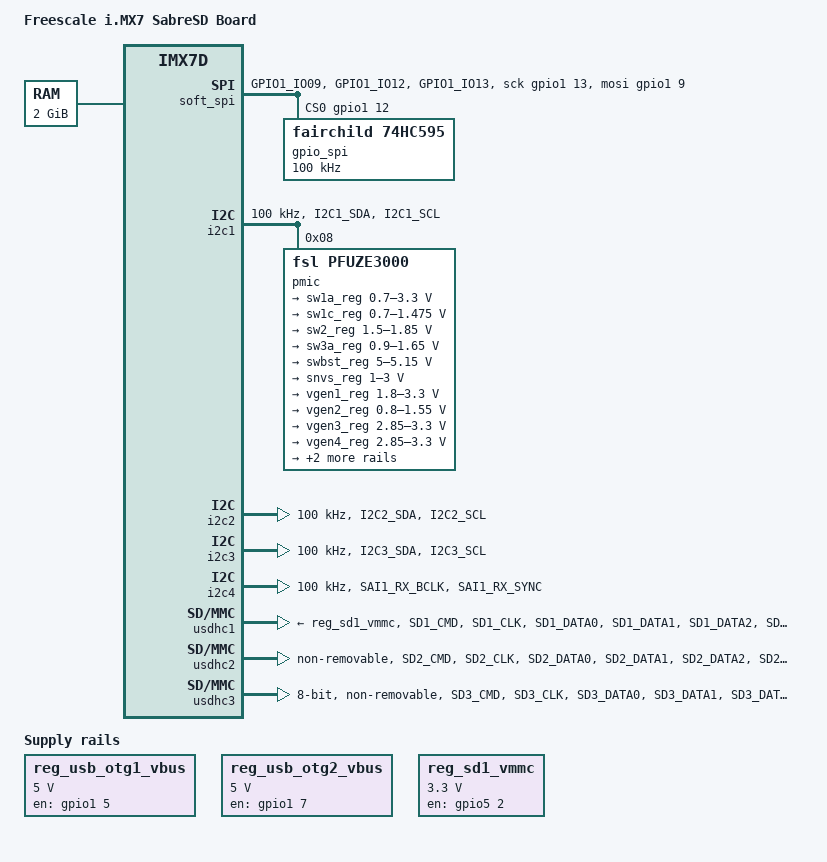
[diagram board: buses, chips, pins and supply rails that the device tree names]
// SPDX-License-Identifier: GPL-2.0+
/*
 * Copyright 2017 NXP
 */

/dts-v1/;

#include "imx7d.dtsi"

/ {
	model = "Freescale i.MX7 SabreSD Board";
	compatible = "fsl,imx7d-sdb", "fsl,imx7d";

	aliases {
		spi5 = &soft_spi;
	};

	memory {
		reg = <0x80000000 0x80000000>;
	};

	soft_spi: soft-spi {
		compatible = "spi-gpio";
		pinctrl-names = "default";
		pinctrl-0 = <&pinctrl_spi1>;
		status = "okay";
		gpio-sck = <&gpio1 13 0>;
		gpio-mosi = <&gpio1 9 0>;
		cs-gpios = <&gpio1 12 0>;
		num-chipselects = <1>;
		#address-cells = <1>;
		#size-cells = <0>;

		gpio_spi: gpio_spi@0 {
			compatible = "fairchild,74hc595";
			gpio-controller;
			#gpio-cells = <2>;
			reg = <0>;
			registers-number = <1>;
			registers-default = /bits/ 8 <0x74>; /* Enable PERI_3V3, SENSOR_RST_B and HDMI_RST*/
			spi-max-frequency = <100000>;
		};
	};

	regulators {
		compatible = "simple-bus";
		#address-cells = <1>;
		#size-cells = <0>;

		reg_usb_otg1_vbus: regulator@0 {
			compatible = "regulator-fixed";
			reg = <0>;
			regulator-name = "usb_otg1_vbus";
			regulator-min-microvolt = <5000000>;
			regulator-max-microvolt = <5000000>;
			gpio = <&gpio1 5 GPIO_ACTIVE_HIGH>;
			enable-active-high;
		};

		reg_usb_otg2_vbus: regulator@1 {
			compatible = "regulator-fixed";
			reg = <1>;
			regulator-name = "usb_otg2_vbus";
			regulator-min-microvolt = <5000000>;
			regulator-max-microvolt = <5000000>;
			gpio = <&gpio1 7 GPIO_ACTIVE_HIGH>;
			enable-active-high;
		};

		reg_sd1_vmmc: regulator@3 {
			compatible = "regulator-fixed";
			regulator-name = "VDD_SD1";
			regulator-min-microvolt = <3300000>;
			regulator-max-microvolt = <3300000>;
			gpio = <&gpio5 2 GPIO_ACTIVE_HIGH>;
			startup-delay-us = <200000>;
			enable-active-high;
		};
	};
};

&iomuxc {
	imx7d-sdb {
		pinctrl_spi1: spi1grp {
			fsl,pins = <
				MX7D_PAD_GPIO1_IO09__GPIO1_IO9	0x59
				MX7D_PAD_GPIO1_IO12__GPIO1_IO12	0x59
				MX7D_PAD_GPIO1_IO13__GPIO1_IO13	0x59
			>;
		};

		pinctrl_i2c1: i2c1grp {
			fsl,pins = <
				MX7D_PAD_I2C1_SDA__I2C1_SDA	0x4000007f
				MX7D_PAD_I2C1_SCL__I2C1_SCL	0x4000007f
			>;
		};

		pinctrl_i2c2: i2c2grp {
			fsl,pins = <
				MX7D_PAD_I2C2_SDA__I2C2_SDA	0x4000007f
				MX7D_PAD_I2C2_SCL__I2C2_SCL	0x4000007f
			>;
		};

		pinctrl_i2c3: i2c3grp {
			fsl,pins = <
				MX7D_PAD_I2C3_SDA__I2C3_SDA	0x4000007f
				MX7D_PAD_I2C3_SCL__I2C3_SCL	0x4000007f
			>;
		};

		pinctrl_i2c4: i2c4grp {
			fsl,pins = <
				MX7D_PAD_SAI1_RX_BCLK__I2C4_SDA	0x4000007f
				MX7D_PAD_SAI1_RX_SYNC__I2C4_SCL	0x4000007f
			>;
		};

		pinctrl_usdhc1_gpio: usdhc1_gpiogrp {
			fsl,pins = <
				MX7D_PAD_SD1_CD_B__GPIO5_IO0		0x59 /* CD */
				MX7D_PAD_SD1_WP__GPIO5_IO1		0x59 /* WP */
				MX7D_PAD_SD1_RESET_B__GPIO5_IO2		0x59 /* vmmc */
				MX7D_PAD_GPIO1_IO08__SD1_VSELECT	0x59 /* VSELECT */
			>;
		};

		pinctrl_usdhc1: usdhc1grp {
			fsl,pins = <
				MX7D_PAD_SD1_CMD__SD1_CMD		0x59
				MX7D_PAD_SD1_CLK__SD1_CLK		0x19
				MX7D_PAD_SD1_DATA0__SD1_DATA0		0x59
				MX7D_PAD_SD1_DATA1__SD1_DATA1		0x59
				MX7D_PAD_SD1_DATA2__SD1_DATA2		0x59
				MX7D_PAD_SD1_DATA3__SD1_DATA3		0x59
			>;
		};

		pinctrl_usdhc1_100mhz: usdhc1grp_100mhz {
			fsl,pins = <
				MX7D_PAD_SD1_CMD__SD1_CMD		0x5a
				MX7D_PAD_SD1_CLK__SD1_CLK		0x1a
				MX7D_PAD_SD1_DATA0__SD1_DATA0		0x5a
				MX7D_PAD_SD1_DATA1__SD1_DATA1		0x5a
				MX7D_PAD_SD1_DATA2__SD1_DATA2		0x5a
				MX7D_PAD_SD1_DATA3__SD1_DATA3		0x5a
			>;
		};

		pinctrl_usdhc1_200mhz: usdhc1grp_200mhz {
			fsl,pins = <
				MX7D_PAD_SD1_CMD__SD1_CMD		0x5b
				MX7D_PAD_SD1_CLK__SD1_CLK		0x1b
				MX7D_PAD_SD1_DATA0__SD1_DATA0		0x5b
				MX7D_PAD_SD1_DATA1__SD1_DATA1		0x5b
				MX7D_PAD_SD1_DATA2__SD1_DATA2		0x5b
				MX7D_PAD_SD1_DATA3__SD1_DATA3		0x5b
			>;
		};

		pinctrl_usdhc2: usdhc2grp {
			fsl,pins = <
				MX7D_PAD_SD2_CMD__SD2_CMD       0x59
				MX7D_PAD_SD2_CLK__SD2_CLK       0x19
				MX7D_PAD_SD2_DATA0__SD2_DATA0   0x59
				MX7D_PAD_SD2_DATA1__SD2_DATA1   0x59
				MX7D_PAD_SD2_DATA2__SD2_DATA2   0x59
				MX7D_PAD_SD2_DATA3__SD2_DATA3   0x59
				MX7D_PAD_ECSPI2_MOSI__GPIO4_IO21	0x19 /* WL_REG_ON */
				MX7D_PAD_ECSPI2_SCLK__GPIO4_IO20	0x19 /* WL_HOST_WAKE */
			>;
		};

		pinctrl_usdhc2_100mhz: usdhc2grp_100mhz {
			fsl,pins = <
				MX7D_PAD_SD2_CMD__SD2_CMD		0x5a
				MX7D_PAD_SD2_CLK__SD2_CLK		0x1a
				MX7D_PAD_SD2_DATA0__SD2_DATA0		0x5a
				MX7D_PAD_SD2_DATA1__SD2_DATA1		0x5a
				MX7D_PAD_SD2_DATA2__SD2_DATA2		0x5a
				MX7D_PAD_SD2_DATA3__SD2_DATA3		0x5a
			>;
		};

		pinctrl_usdhc2_200mhz: usdhc2grp_200mhz {
			fsl,pins = <
				MX7D_PAD_SD2_CMD__SD2_CMD		0x5b
				MX7D_PAD_SD2_CLK__SD2_CLK		0x1b
				MX7D_PAD_SD2_DATA0__SD2_DATA0		0x5b
				MX7D_PAD_SD2_DATA1__SD2_DATA1		0x5b
				MX7D_PAD_SD2_DATA2__SD2_DATA2		0x5b
				MX7D_PAD_SD2_DATA3__SD2_DATA3		0x5b
			>;
		};

		pinctrl_usdhc3: usdhc3grp {
			fsl,pins = <
				MX7D_PAD_SD3_CMD__SD3_CMD		0x59
				MX7D_PAD_SD3_CLK__SD3_CLK		0x19
				MX7D_PAD_SD3_DATA0__SD3_DATA0		0x59
				MX7D_PAD_SD3_DATA1__SD3_DATA1		0x59
				MX7D_PAD_SD3_DATA2__SD3_DATA2		0x59
				MX7D_PAD_SD3_DATA3__SD3_DATA3		0x59
				MX7D_PAD_SD3_DATA4__SD3_DATA4		0x59
				MX7D_PAD_SD3_DATA5__SD3_DATA5		0x59
				MX7D_PAD_SD3_DATA6__SD3_DATA6		0x59
				MX7D_PAD_SD3_DATA7__SD3_DATA7		0x59
				MX7D_PAD_SD3_STROBE__SD3_STROBE         0x19
			>;
		};

		pinctrl_usdhc3_100mhz: usdhc3grp_100mhz {
			fsl,pins = <
				MX7D_PAD_SD3_CMD__SD3_CMD		0x5a
				MX7D_PAD_SD3_CLK__SD3_CLK		0x1a
				MX7D_PAD_SD3_DATA0__SD3_DATA0		0x5a
				MX7D_PAD_SD3_DATA1__SD3_DATA1		0x5a
				MX7D_PAD_SD3_DATA2__SD3_DATA2		0x5a
				MX7D_PAD_SD3_DATA3__SD3_DATA3		0x5a
				MX7D_PAD_SD3_DATA4__SD3_DATA4		0x5a
				MX7D_PAD_SD3_DATA5__SD3_DATA5		0x5a
				MX7D_PAD_SD3_DATA6__SD3_DATA6		0x5a
				MX7D_PAD_SD3_DATA7__SD3_DATA7		0x5a
				MX7D_PAD_SD3_STROBE__SD3_STROBE		0x1a
			>;
		};

		pinctrl_usdhc3_200mhz: usdhc3grp_200mhz {
			fsl,pins = <
				MX7D_PAD_SD3_CMD__SD3_CMD		0x5b
				MX7D_PAD_SD3_CLK__SD3_CLK		0x1b
				MX7D_PAD_SD3_DATA0__SD3_DATA0		0x5b
				MX7D_PAD_SD3_DATA1__SD3_DATA1		0x5b
				MX7D_PAD_SD3_DATA2__SD3_DATA2		0x5b
				MX7D_PAD_SD3_DATA3__SD3_DATA3		0x5b
				MX7D_PAD_SD3_DATA4__SD3_DATA4		0x5b
				MX7D_PAD_SD3_DATA5__SD3_DATA5		0x5b
				MX7D_PAD_SD3_DATA6__SD3_DATA6		0x5b
				MX7D_PAD_SD3_DATA7__SD3_DATA7		0x5b
				MX7D_PAD_SD3_STROBE__SD3_STROBE		0x1b
			>;
		};
	};
};

&i2c1 {
	clock-frequency = <100000>;
	pinctrl-names = "default";
	pinctrl-0 = <&pinctrl_i2c1>;
	status = "okay";

	pmic: pfuze3000@08 {
		compatible = "fsl,pfuze3000";
		reg = <0x08>;

		regulators {
			sw1a_reg: sw1a {
				regulator-min-microvolt = <700000>;
				regulator-max-microvolt = <3300000>;
				regulator-boot-on;
				regulator-always-on;
				regulator-ramp-delay = <6250>;
			};

			/* use sw1c_reg to align with pfuze100/pfuze200 */
			sw1c_reg: sw1b {
				regulator-min-microvolt = <700000>;
				regulator-max-microvolt = <1475000>;
				regulator-boot-on;
				regulator-always-on;
				regulator-ramp-delay = <6250>;
			};

			sw2_reg: sw2 {
				regulator-min-microvolt = <1500000>;
				regulator-max-microvolt = <1850000>;
				regulator-boot-on;
				regulator-always-on;
			};

			sw3a_reg: sw3 {
				regulator-min-microvolt = <900000>;
				regulator-max-microvolt = <1650000>;
				regulator-boot-on;
				regulator-always-on;
			};

			swbst_reg: swbst {
				regulator-min-microvolt = <5000000>;
				regulator-max-microvolt = <5150000>;
			};

			snvs_reg: vsnvs {
				regulator-min-microvolt = <1000000>;
				regulator-max-microvolt = <3000000>;
				regulator-boot-on;
				regulator-always-on;
			};

			vref_reg: vrefddr {
				regulator-boot-on;
				regulator-always-on;
			};

			vgen1_reg: vldo1 {
				regulator-min-microvolt = <1800000>;
				regulator-max-microvolt = <3300000>;
				regulator-always-on;
			};

			vgen2_reg: vldo2 {
				regulator-min-microvolt = <800000>;
				regulator-max-microvolt = <1550000>;
				regulator-always-on;
			};

			vgen3_reg: vccsd {
				regulator-min-microvolt = <2850000>;
				regulator-max-microvolt = <3300000>;
				regulator-always-on;
			};

			vgen4_reg: v33 {
				regulator-min-microvolt = <2850000>;
				regulator-max-microvolt = <3300000>;
				regulator-always-on;
			};

			vgen5_reg: vldo3 {
				regulator-min-microvolt = <1800000>;
				regulator-max-microvolt = <3300000>;
				regulator-always-on;
			};

			vgen6_reg: vldo4 {
				regulator-min-microvolt = <1800000>;
				regulator-max-microvolt = <3300000>;
				regulator-always-on;
			};
		};
	};
};

&i2c2 {
	clock-frequency = <100000>;
	pinctrl-names = "default";
	pinctrl-0 = <&pinctrl_i2c2>;
	status = "okay";
};

&i2c3 {
	clock-frequency = <100000>;
	pinctrl-names = "default";
	pinctrl-0 = <&pinctrl_i2c3>;
	status = "okay";
};

&i2c4 {
	clock-frequency = <100000>;
	pinctrl-names = "default";
	pinctrl-0 = <&pinctrl_i2c4>;
	status = "okay";
};

&usdhc1 {
	pinctrl-names = "default", "state_100mhz", "state_200mhz";
	pinctrl-0 = <&pinctrl_usdhc1>, <&pinctrl_usdhc1_gpio>;
	pinctrl-1 = <&pinctrl_usdhc1_100mhz>, <&pinctrl_usdhc1_gpio>;
	pinctrl-2 = <&pinctrl_usdhc1_200mhz>, <&pinctrl_usdhc1_gpio>;
	cd-gpios = <&gpio5 0 GPIO_ACTIVE_LOW>;
	wp-gpios = <&gpio5 1 GPIO_ACTIVE_HIGH>;
	vmmc-supply = <&reg_sd1_vmmc>;
	fsl,tuning-start-tap = <20>;
	fsl,tuning-step= <2>;
	status = "okay";
};

&usdhc2 {
	pinctrl-names = "default", "state_100mhz", "state_200mhz";
	pinctrl-0 = <&pinctrl_usdhc2>;
	pinctrl-1 = <&pinctrl_usdhc2_100mhz>;
	pinctrl-2 = <&pinctrl_usdhc2_200mhz>;
	non-removable;
	fsl,tuning-start-tap = <20>;
	fsl,tuning-step= <2>;
	status = "okay";
};

&usdhc3 {
	pinctrl-names = "default", "state_100mhz", "state_200mhz";
	pinctrl-0 = <&pinctrl_usdhc3>;
	pinctrl-1 = <&pinctrl_usdhc3_100mhz>;
	pinctrl-2 = <&pinctrl_usdhc3_200mhz>;
	bus-width = <8>;
	non-removable;
	fsl,tuning-start-tap = <20>;
	fsl,tuning-step= <2>;
	status = "okay";
};
